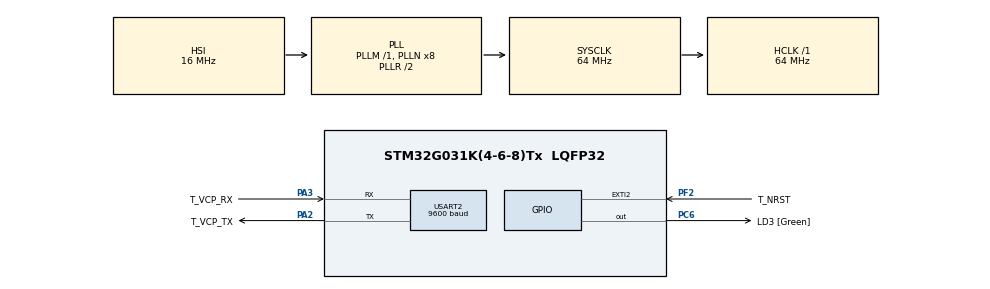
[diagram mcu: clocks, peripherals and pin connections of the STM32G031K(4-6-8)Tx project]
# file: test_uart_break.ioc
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Dma.Request0=USART2_RX
Dma.Request1=USART2_TX
Dma.USART2_RX.0.Direction=DMA_PERIPH_TO_MEMORY
Dma.USART2_RX.0.EventEnable=DISABLE
Dma.USART2_RX.0.Instance=DMA1_Channel2
Dma.USART2_RX.0.MemDataAlignment=DMA_MDATAALIGN_BYTE
Dma.USART2_RX.0.MemInc=DMA_MINC_ENABLE
Dma.USART2_RX.0.Mode=DMA_NORMAL
Dma.USART2_RX.0.PeriphDataAlignment=DMA_PDATAALIGN_BYTE
Dma.USART2_RX.0.PeriphInc=DMA_PINC_DISABLE
Dma.USART2_RX.0.Polarity=HAL_DMAMUX_REQ_GEN_RISING
Dma.USART2_RX.0.Priority=DMA_PRIORITY_HIGH
Dma.USART2_RX.0.RequestNumber=1
Dma.USART2_RX.0.SignalID=NONE
Dma.USART2_RX.0.SyncEnable=DISABLE
Dma.USART2_RX.0.SyncPolarity=HAL_DMAMUX_SYNC_NO_EVENT
Dma.USART2_RX.0.SyncRequestNumber=1
Dma.USART2_RX.0.SyncSignalID=NONE
Dma.USART2_TX.1.Direction=DMA_MEMORY_TO_PERIPH
Dma.USART2_TX.1.EventEnable=DISABLE
Dma.USART2_TX.1.Instance=DMA1_Channel1
Dma.USART2_TX.1.MemDataAlignment=DMA_MDATAALIGN_BYTE
Dma.USART2_TX.1.MemInc=DMA_MINC_ENABLE
Dma.USART2_TX.1.Mode=DMA_NORMAL
Dma.USART2_TX.1.PeriphDataAlignment=DMA_PDATAALIGN_BYTE
Dma.USART2_TX.1.PeriphInc=DMA_PINC_DISABLE
Dma.USART2_TX.1.Polarity=HAL_DMAMUX_REQ_GEN_RISING
Dma.USART2_TX.1.Priority=DMA_PRIORITY_LOW
Dma.USART2_TX.1.RequestNumber=1
Dma.USART2_TX.1.SignalID=NONE
Dma.USART2_TX.1.SyncEnable=DISABLE
Dma.USART2_TX.1.SyncPolarity=HAL_DMAMUX_SYNC_NO_EVENT
Dma.USART2_TX.1.SyncRequestNumber=1
Dma.USART2_TX.1.SyncSignalID=NONE
Mcu.Family=STM32G0
Mcu.Name=STM32G031K(4-6-8)Tx
Mcu.Package=LQFP32
NVIC.DMA1_Channel1_IRQn=true\:0\:0\:false\:false\:true\:false\:true\:true
NVIC.DMA1_Channel2_3_IRQn=true\:0\:0\:false\:false\:true\:false\:true\:true
NVIC.USART2_IRQn=true\:0\:0\:false\:false\:true\:true\:true\:true
PA13.GPIO_Label=T_JTMS
PA13.Mode=Serial_Wire
PA13.Signal=SYS_SWDIO
PA14-BOOT0.GPIO_Label=T_JTCK
PA14-BOOT0.Mode=Serial_Wire
PA14-BOOT0.Signal=SYS_SWCLK
PA2.GPIO_Label=T_VCP_TX
PA2.GPIO_PuPd=GPIO_PULLUP
PA2.Mode=Asynchronous
PA2.Signal=USART2_TX
PA3.GPIO_Label=T_VCP_RX
PA3.GPIO_PuPd=GPIO_PULLUP
PA3.Mode=Asynchronous
PA3.Signal=USART2_RX
PC6.GPIO_Label=LD3 [Green]
PC6.Signal=GPIO_Output
PF2\ -\ NRST.GPIO_Label=T_NRST
PF2\ -\ NRST.Signal=GPXTI2
ProjectManager.HeapSize=0x200
ProjectManager.StackSize=0x400
ProjectManager.TargetToolchain=STM32CubeIDE
RCC.ADCFreq_Value=64000000
RCC.AHBFreq_Value=64000000
RCC.CortexFreq_Value=64000000
RCC.EXTERNAL_CLOCK_VALUE=12288000
RCC.HCLKFreq_Value=64000000
RCC.HSE_VALUE=8000000
RCC.HSI_VALUE=16000000
RCC.SYSCLKFreq_VALUE=64000000
RCC.SYSCLKSource=RCC_SYSCLKSOURCE_PLLCLK
RCC.VCOOutputFreq_Value=128000000
USART2.BaudRate=9600
USART2.DMADisableonRxErrorParam=ADVFEATURE_DMA_ENABLEONRXERROR
USART2.OverrunDisableParam=ADVFEATURE_OVERRUN_ENABLE
USART2.VirtualMode-Asynchronous=VM_ASYNC
USART2.WordLength=WORDLENGTH_8B
board=NUCLEO-G031K8

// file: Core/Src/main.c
/* USER CODE BEGIN Header */
/**
  ******************************************************************************
  * @file           : main.c
  * @brief          : Main program body
  ******************************************************************************
  * @attention
  *
  * Copyright (c) 2022 STMicroelectronics.
  * All rights reserved.
  *
  * This software is licensed under terms that can be found in the LICENSE file
  * in the root directory of this software component.
  * If no LICENSE file comes with this software, it is provided AS-IS.
  *
  ******************************************************************************
  */
/* USER CODE END Header */
#include "main.h"

/* USER CODE BEGIN Includes */
#include "string.h"
/* USER CODE END Includes */

/* USER CODE BEGIN PD */
#define MAX_USART_BUF_IN	100		/*! USART Buffer in length */
#define MAX_USART_BUF_OUT	5000	/*! USART Buffer out length */
static const uint8_t VERSION[] = "MultiISO STMR 1.4.1\r\n";
/* USER CODE END PD */

UART_HandleTypeDef huart2;
DMA_HandleTypeDef hdma_usart2_rx;
DMA_HandleTypeDef hdma_usart2_tx;

/* USER CODE BEGIN PV */
uint8_t usartBufferIn[MAX_USART_BUF_IN];
uint16_t usartBufferInLen;
uint16_t usartBufferInIndx;
uint8_t usartBufferOut[MAX_USART_BUF_OUT];
uint16_t usartBufferOutlen;
uint16_t usartBufferOutIndx;

uint8_t send = 0;
/* USER CODE END PV */

void SystemClock_Config(void);
static void MX_GPIO_Init(void);
static void MX_DMA_Init(void);
static void MX_USART2_UART_Init(void);

int main(void)
{

  /* MCU Configuration--------------------------------------------------------*/

  /* Reset of all peripherals, Initializes the Flash interface and the Systick. */
  HAL_Init();

  /* Configure the system clock */
  SystemClock_Config();

  /* Initialize all configured peripherals */
  MX_GPIO_Init();
  MX_DMA_Init();
  MX_USART2_UART_Init();
  /* USER CODE BEGIN 2 */
  usartBufferOutlen = strlen((const char *)VERSION);
  memcpy(usartBufferOut, (uint8_t *)VERSION, usartBufferOutlen);
  HAL_UART_Transmit_IT(&huart2, usartBufferOut, usartBufferOutlen);
  HAL_UARTEx_ReceiveToIdle_IT(&huart2, usartBufferIn, MAX_USART_BUF_IN);
  /* USER CODE END 2 */

  /* Infinite loop */
  /* USER CODE BEGIN WHILE */
  while (1)
  {
	  if(send == 1)
	  {
		  send = 0;
		  HAL_UART_Transmit_IT(&huart2, usartBufferOut, usartBufferOutlen);
	  }
    /* USER CODE END WHILE */

  }
}

void SystemClock_Config(void)
{
  RCC_OscInitTypeDef RCC_OscInitStruct = {0};
  RCC_ClkInitTypeDef RCC_ClkInitStruct = {0};

  /** Configure the main internal regulator output voltage
  */
  HAL_PWREx_ControlVoltageScaling(PWR_REGULATOR_VOLTAGE_SCALE1);

  /** Initializes the RCC Oscillators according to the specified parameters
  * in the RCC_OscInitTypeDef structure.
  */
  RCC_OscInitStruct.OscillatorType = RCC_OSCILLATORTYPE_HSI;
  RCC_OscInitStruct.HSIState = RCC_HSI_ON;
  RCC_OscInitStruct.HSIDiv = RCC_HSI_DIV1;
  RCC_OscInitStruct.HSICalibrationValue = RCC_HSICALIBRATION_DEFAULT;
  RCC_OscInitStruct.PLL.PLLState = RCC_PLL_ON;
  RCC_OscInitStruct.PLL.PLLSource = RCC_PLLSOURCE_HSI;
  RCC_OscInitStruct.PLL.PLLM = RCC_PLLM_DIV1;
  RCC_OscInitStruct.PLL.PLLN = 8;
  RCC_OscInitStruct.PLL.PLLP = RCC_PLLP_DIV2;
  RCC_OscInitStruct.PLL.PLLQ = RCC_PLLQ_DIV2;
  RCC_OscInitStruct.PLL.PLLR = RCC_PLLR_DIV2;
  if (HAL_RCC_OscConfig(&RCC_OscInitStruct) != HAL_OK)
  {
    Error_Handler();
  }

  /** Initializes the CPU, AHB and APB buses clocks
  */
  RCC_ClkInitStruct.ClockType = RCC_CLOCKTYPE_HCLK|RCC_CLOCKTYPE_SYSCLK
                              |RCC_CLOCKTYPE_PCLK1;
  RCC_ClkInitStruct.SYSCLKSource = RCC_SYSCLKSOURCE_PLLCLK;
  RCC_ClkInitStruct.AHBCLKDivider = RCC_SYSCLK_DIV1;
  RCC_ClkInitStruct.APB1CLKDivider = RCC_HCLK_DIV1;

  if (HAL_RCC_ClockConfig(&RCC_ClkInitStruct, FLASH_LATENCY_2) != HAL_OK)
  {
    Error_Handler();
  }
}

static void MX_USART2_UART_Init(void)
{

  huart2.Instance = USART2;
  huart2.Init.BaudRate = 9600;
  huart2.Init.WordLength = UART_WORDLENGTH_8B;
  huart2.Init.StopBits = UART_STOPBITS_1;
  huart2.Init.Parity = UART_PARITY_NONE;
  huart2.Init.Mode = UART_MODE_TX_RX;
  huart2.Init.HwFlowCtl = UART_HWCONTROL_NONE;
  huart2.Init.OverSampling = UART_OVERSAMPLING_16;
  huart2.Init.OneBitSampling = UART_ONE_BIT_SAMPLE_DISABLE;
  huart2.Init.ClockPrescaler = UART_PRESCALER_DIV1;
  huart2.AdvancedInit.AdvFeatureInit = UART_ADVFEATURE_NO_INIT;
  if (HAL_UART_Init(&huart2) != HAL_OK)
  {
    Error_Handler();
  }

}

static void MX_DMA_Init(void)
{

  /* DMA controller clock enable */
  __HAL_RCC_DMA1_CLK_ENABLE();

  /* DMA interrupt init */
  /* DMA1_Channel1_IRQn interrupt configuration */
  HAL_NVIC_SetPriority(DMA1_Channel1_IRQn, 0, 0);
  HAL_NVIC_EnableIRQ(DMA1_Channel1_IRQn);
  /* DMA1_Channel2_3_IRQn interrupt configuration */
  HAL_NVIC_SetPriority(DMA1_Channel2_3_IRQn, 0, 0);
  HAL_NVIC_EnableIRQ(DMA1_Channel2_3_IRQn);

}

static void MX_GPIO_Init(void)
{
  GPIO_InitTypeDef GPIO_InitStruct = {0};

  /* GPIO Ports Clock Enable */
  __HAL_RCC_GPIOF_CLK_ENABLE();
  __HAL_RCC_GPIOA_CLK_ENABLE();
  __HAL_RCC_GPIOC_CLK_ENABLE();

  /*Configure GPIO pin Output Level */
  HAL_GPIO_WritePin(LD3_GPIO_Port, LD3_Pin, GPIO_PIN_RESET);

  /*Configure GPIO pin : T_NRST_Pin */
  GPIO_InitStruct.Pin = T_NRST_Pin;
  GPIO_InitStruct.Mode = GPIO_MODE_IT_RISING;
  GPIO_InitStruct.Pull = GPIO_NOPULL;
  HAL_GPIO_Init(T_NRST_GPIO_Port, &GPIO_InitStruct);

  /*Configure GPIO pin : LD3_Pin */
  GPIO_InitStruct.Pin = LD3_Pin;
  GPIO_InitStruct.Mode = GPIO_MODE_OUTPUT_PP;
  GPIO_InitStruct.Pull = GPIO_NOPULL;
  GPIO_InitStruct.Speed = GPIO_SPEED_FREQ_LOW;
  HAL_GPIO_Init(LD3_GPIO_Port, &GPIO_InitStruct);

}

/* USER CODE BEGIN 4 */
void HAL_UART_ErrorCallback(UART_HandleTypeDef *huart)
{
	if(&huart2 == huart)
	{
		switch (huart->ErrorCode)
		{
		case HAL_UART_ERROR_ORE:	// Overrun error
			__HAL_UART_CLEAR_FLAG(huart, UART_CLEAR_OREF);
			//commandEngine.um.errorCode = UM_ERROR_OVERRUN;
			break;

		case HAL_UART_ERROR_RTO:	// Receiver Timeout erro
			__HAL_UART_CLEAR_FLAG(huart, UART_CLEAR_RTOF);
			__HAL_UART_DISABLE_IT(huart, UART_IT_RTO);
			//commandEngine.um.errorCode = UM_ERROR_RX_TIMEOUT;
			break;

		case HAL_UART_ERROR_FE:		// Frame error
			__HAL_UART_CLEAR_FLAG(huart, UART_CLEAR_FEF);
			//commandEngine.um.errorCode = UM_ERROR_FRAME;
			break;
		}
	}
}

void HAL_UARTEx_RxEventCallback(UART_HandleTypeDef *huart, uint16_t Size)
{
	if(&huart2 == huart)
	{
		usartBufferInLen = Size;
		usartBufferOutlen = Size;
		memcpy(usartBufferOut, usartBufferIn, usartBufferInLen);
		memset(usartBufferIn, 0, MAX_USART_BUF_IN);
		HAL_UARTEx_ReceiveToIdle_IT(huart, usartBufferIn, MAX_USART_BUF_IN);
		send = 1;
	}
}
/* USER CODE END 4 */

void Error_Handler(void)
{
  __disable_irq();
  while (1)
  {
  }
}
